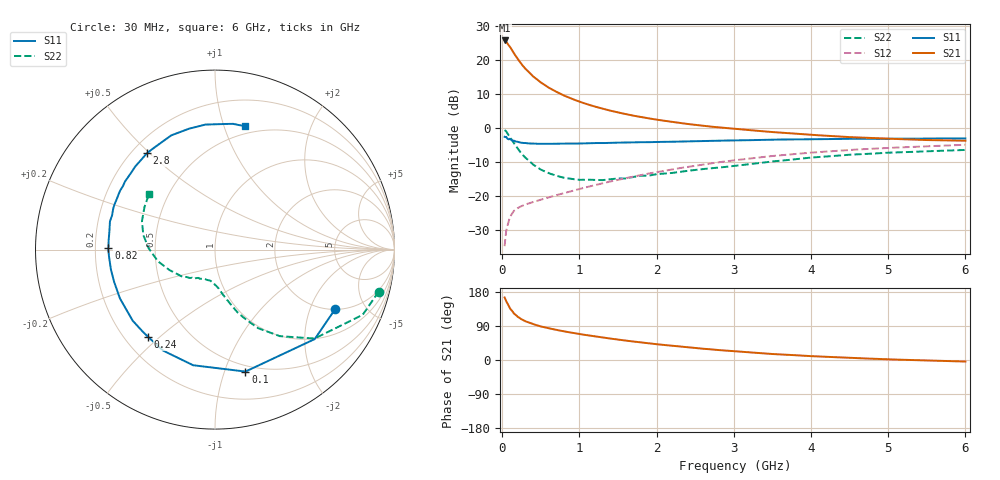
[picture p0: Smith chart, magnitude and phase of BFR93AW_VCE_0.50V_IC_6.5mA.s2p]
! Infineon Technologies  Discrete & RF Semiconductors
! BFR93AW
! VCE = 0.50 V,  IC =  6.5 mA
! Common Emitter S-Parameters:  Nov 2015
# GHz  S  MA  R  50
!  f  S11  S21  S12  S22
! GHz  MAG  ANG  MAG  ANG  MAG  ANG  MAG  ANG
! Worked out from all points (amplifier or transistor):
!   206 points, 30 MHz to 6 GHz, reference 50 ohm
!   highest |S21| = 25.8 dB at 30 MHz (marker M1)
!   |S21| within 3 dB of that: start of sweep to 129.5 MHz
!   unconditionally stable (mu >= 1): 782.5 MHz to 3.058 GHz; 5.563 GHz to end of sweep
!   at 200 MHz: K = 0.38, MSG = 21.9 dB, |S12| = -23.5 dB
!   at 1.56 GHz: K = 1.13, MAG = 7.4 dB, |S12| = -14.9 dB
!   at 6 GHz: K = 1.01, MAG = 0.1 dB, |S12| = -4.9 dB
!   S11 on the Smith chart (normalised r, x): 30 MHz: 2.01, -3.02; 100 MHz: 0.44, -1.18; 240 MHz: 0.29, -0.46; 820 MHz: 0.25, +0.01; 2.8 GHz: 0.26, +0.49; 6 GHz: 0.43, +1.18
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0.03  0.7471 -26.4  19.45 165.0  0.0185 75.6  0.9417 -14.4
0.05  0.7465 -41.9  18.77 155.0  0.0304 69.6  0.8995 -23.8
0.1  0.7004 -76.0  15.66 136.0  0.0499 55.7  0.7438 -41.8
0.15  0.6557 -100.7  12.6 122.9  0.061 47.5  0.6021 -53.2
0.2  0.6326 -117.1  10.38 113.9  0.067 43.2  0.4997 -61.2
0.24  0.6128 -127.4  9.01 108.7  0.071 41.8  0.4364 -65.3
0.26  0.6087 -131.8  8.43 106.3  0.0727 41.4  0.4104 -67.2
0.3  0.606 -139.2  7.452 102.1  0.0757 40.9  0.3685 -70.5
0.4  0.5954 -152.8  5.753 94.4  0.0825 41.5  0.2921 -76.2
0.5  0.5901 -162.3  4.689 88.4  0.0891 43.4  0.246 -81.1
0.6  0.5904 -169.1  3.95 83.7  0.0962 45.0  0.2184 -84.5
0.7  0.5914 -175.0  3.427 79.3  0.1038 47.0  0.2004 -88.5
0.82  0.5943 179.1  2.952 74.8  0.1127 48.9  0.1855 -93.7
1.04  0.5973 170.2  2.368 67.3  0.1315 51.7  0.1746 -101.3
1.2  0.606 164.9  2.074 62.3  0.1456 53.1  0.1742 -106.8
1.48  0.6129 156.8  1.723 54.4  0.1726 54.5  0.1821 -116.5
2.02  0.6289 142.4  1.325 41.2  0.2286 54.1  0.2121 -132.0
2.8  0.6579 125.1  1.028 26.3  0.3156 49.2  0.2632 -151.6
3.1  0.6638 118.8  0.958 21.8  0.3471 46.6  0.2865 -158.7
4.1  0.6898 100.6  0.787 9.3  0.4461 35.5  0.3769 176.5
5.1  0.701 86.5  0.695 1.1  0.5191 24.0  0.4401 156.7
6  0.7072 76.3  0.655 -4.1  0.5712 14.6  0.4796 140.2
